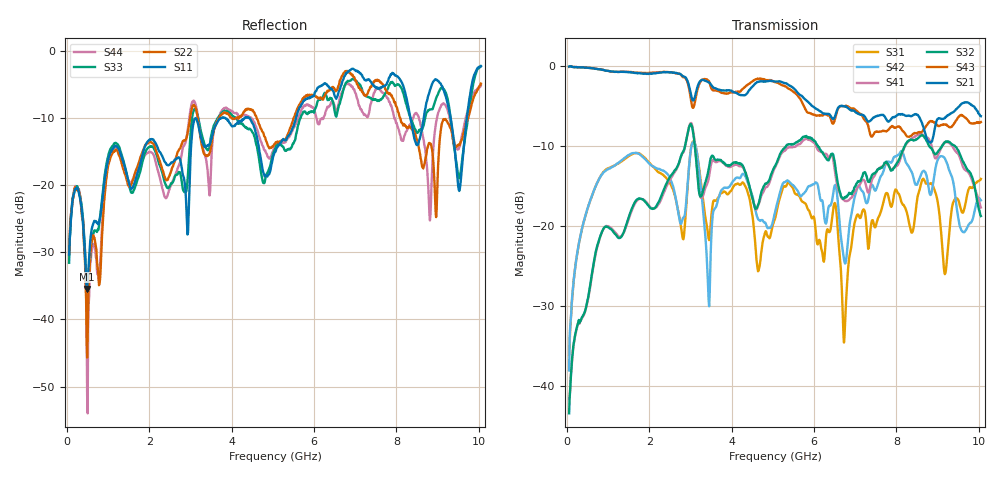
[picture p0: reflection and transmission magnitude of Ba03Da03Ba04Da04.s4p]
!  COPYRIGHT, TYCO ELECTRONICS  !
!  ALL INTERNATIONAL RIGHTS RESERVED  !
!! These models are covered by a licensing agreement that restricts  !
!! their use and distribution.  If you have questions about the  !
!! restrictions, contact the appropriate organization within  !
!! your company  !
! THESE MODELS REPRESENT TEC/AMP CONNECTORS ONLY. DUE TO INTERNAL  !
! DESIGN AND MATERIALS, THEY SHOULD NOT BE USED FOR PRODUCTS  !
! MANUFACTURED BY COMPANIES OTHER THAN AMP.  !
! CHECK WITH TEC/AMP FOR THE MOST CURRENT MODEL SET  !
! FOR MORE INFORMATION, EMAIL: modeling@tycoelectronics.com  !
!  URL:  http://www.amp.com/simulation/  !
! PRODUCT INFORMATION CENTER:  1-800-522-6752  !
! Each file is named 'Port1Port2Port3Port4.s4p', where port 1 and  !
! port 3 are input ports and port 2 and port 4 are output ports.  !
! For example, Ba05Da05Bb05Db05.s4p would have port 1 at backplane (B) a5 !
! port 2 at daughtercard (D) a5, port 3 at backplane (B) b5,  !
! and port 4 at daughtercard (D) b5.  !
! Keep in mind that each file is the throughput for  !
! footprint-connector-footprint.  Test board traces are calibrated out,  !
! but the s-parameters include a signal path that goes through the  !
! connector footprint in a given thickness board, the connector itself,  !
! and the connector footprint in a second board.  !
! A zero Hertz interpolation data point has been added for convenience.  !
! Connector: Z-DOK, 0.050" PITCH,  4 ROW, RIGHT ANGLE PLUG TO RIGHT ANGLE RECEPTACLE
! Pins  : A3A4
! Board  : 0.093" Thick FR4
! Filename : BA03DA03BA04DA04.s4p
! Rev Date : 9/15/02
! Status  : VALIDATED MEASURED MODEL
! Structure: 4 Port S-parameter
! Rating  : 50 MHz to 10.05 GHz
! Transform Limits : 50 ps Min. Time Resolution 1/(2*MaxFreq)
# HZ  S  MA R  50
! FREQ  S11  S12  S13  S14
!  S21  S22  S23  S24
!  S31  S32  S33  S34
!  S41  S42  S43  S44
!  MAG  ANG  MAG  ANG  MAG  ANG  MAG  ANG
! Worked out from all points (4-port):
!   801 points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, 50 MHz to 10.05 GHz, reference 50 ohm
!   strongest paths, dB at 50 MHz, 2.55 GHz, 5.05 GHz, 7.55 GHz, 10.05 GHz:
!     S21: 0.0, -0.8, -1.9, -6.2, -6.2
!     S43: -0.1, -0.8, -2.0, -8.2, -7.0
!     S32: -43.4, -13.5, -12.5, -12.9, -18.7
!     S41: -41.6, -13.8, -12.7, -12.9, -17.7
!     S42: -38.0, -14.7, -18.3, -14.8, -16.8
!     S31: -36.1, -15.2, -19.1, -19.0, -14.1
!   lowest |S11| = -35.4 dB at 487.5 MHz (marker M1), VSWR 1.03, Z = 51.4 - j0.946 ohm
!   |S11| at or under -10 dB: start of sweep to 3.12 GHz; 3.13 GHz to 3.735 GHz (605.6 MHz wide, 17.6 % of centre); 4.438 GHz to 5.557 GHz (1.119 GHz wide, 22.4 % of centre)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
5e7  0.03046 70.8  0.9915 -2.7  0.01499 80.7  0.006281 -97.0
     0.9953 -2.4  0.03093 83.8  0.005235 -56.6  0.01523 86.6
     0.01569 88.6  0.006771 -91.4  0.02647 68.8  1.001 -2.6
     0.008298 -96.8  0.01254 72.9  0.9907 -2.3  0.03963 79.0
4.875e8  0.01692 -32.9  0.9778 -29.8  0.1265 57.6  0.03263 -124.3
         0.978 -29.9  0.005195 159.1  0.03347 -123.9  0.1268 58.9
         0.1266 57.6  0.03348 -123.8  0.01386 -15.0  0.9779 -30.6
         0.03287 -124.7  0.1269 58.9  0.9792 -30.6  0.002739 88.5
1.1e9  0.1858 1.5  0.9287 -66.0  0.2367 16.1  0.09595 175.0
       0.9272 -65.8  0.1729 23.5  0.09394 174.7  0.2353 20.7
       0.2364 16.4  0.09407 174.7  0.196 -2.5  0.9281 -67.8
       0.09578 175.2  0.2346 20.6  0.9263 -67.5  0.1791 25.5
2.7e9  0.1614 -112.8  0.9012 -162.3  0.1237 -127.4  0.2402 95.9
       0.9002 -162.3  0.1799 -65.2  0.2417 94.9  0.123 -54.5
       0.1242 -127.3  0.2426 94.9  0.1238 -134.8  0.8985 -167.9
       0.2389 96.0  0.1226 -54.6  0.8973 -168.0  0.1369 -63.7
5.5125e9  0.2843 -61.6  0.7247 34.2  0.1649 -113.0  0.3137 -94.3
          0.7223 33.9  0.3213 -96.0  0.326 -95.8  0.1784 -134.0
          0.1651 -113.3  0.3278 -95.6  0.2104 -88.0  0.6868 21.3
          0.3125 -94.3  0.1781 -133.9  0.6871 21.3  0.2702 -118.4
9.525e9  0.09073 -130.9  0.5615 -155.9  0.1397 12.4  0.2752 -16.6
         0.5609 -156.6  0.2013 -51.4  0.288 -24.5  0.1044 165.2
         0.1396 11.6  0.2879 -24.2  0.1127 -144.8  0.4877 -175.6
         0.2746 -16.9  0.1037 164.8  0.4849 -175.9  0.1933 -106.1
1.005e10  0.7733 -121.3  0.4892 165.8  0.1986 -5.7  0.1314 -45.3
          0.487 165.0  0.5733 -79.0  0.116 -60.9  0.1446 43.3
          0.1976 -6.1  0.1157 -59.9  0.7731 -137.6  0.4496 157.7
          0.1308 -46.3  0.145 42.7  0.4474 156.9  0.5563 -85.2
